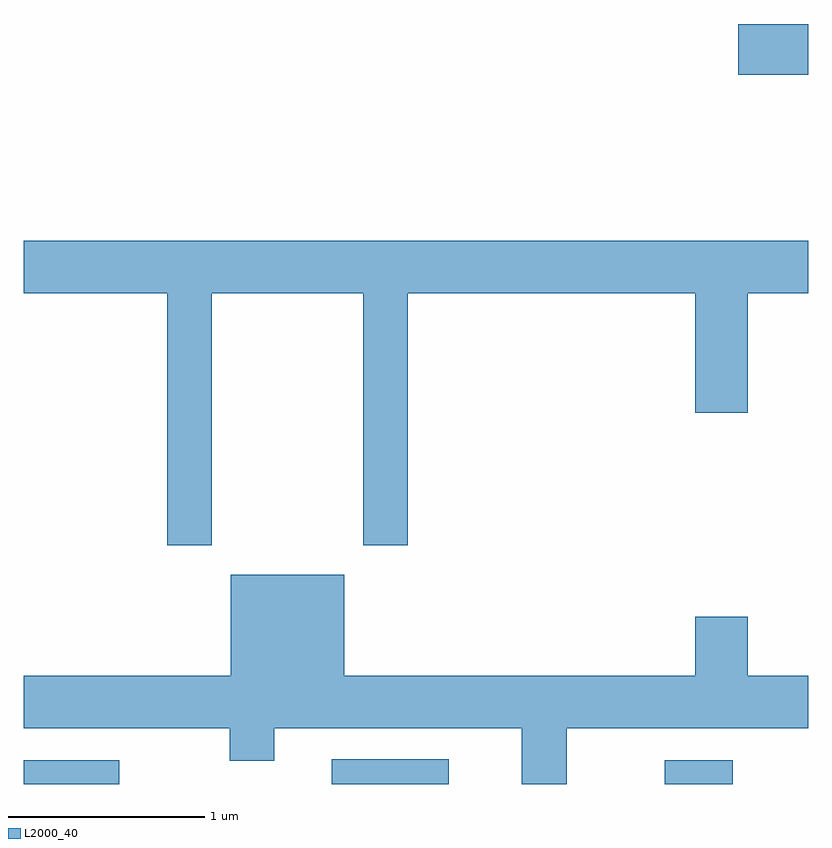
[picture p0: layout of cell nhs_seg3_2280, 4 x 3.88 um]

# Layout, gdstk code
import gdstk
lib = gdstk.Library(unit=1e-6, precision=1e-09)
def R(c, l, rs):  # rectangles x0, y0, x1, y1
    for r in rs: c.add(gdstk.rectangle(r[:2], r[2:], *l))
def P(c, l, *ps):  # polygons
    for p in ps: c.add(gdstk.Polygon(p, *l))
L2000_40 = (2000, 40)

nhs_seg3_2280 = lib.new_cell('nhs_seg3_2280')
R(nhs_seg3_2280, L2000_40, [(251.611,1187.892,252.098,1188.014), (253.181,1187.892,253.778,1188.019), (254.881,1187.892,255.228,1188.014), (255.256,1191.511,255.611,1191.769)])
P(nhs_seg3_2280, L2000_40, [(252.569,1190.396),(253.341,1190.396),(253.341,1189.111),(253.569,1189.111),(253.569,1190.396),(255.036,1190.396),(255.036,1189.786),(255.304,1189.786),(255.304,1190.396),(255.611,1190.396),(255.611,1190.664),(251.611,1190.664),(251.611,1190.396),(252.341,1190.396),(252.341,1189.111),(252.569,1189.111)],
  [(254.379,1188.176),(255.611,1188.176),(255.611,1188.444),(255.304,1188.444),(255.304,1188.744),(255.036,1188.744),(255.036,1188.444),(253.244,1188.444),(253.244,1188.959),(252.666,1188.959),(252.666,1188.444),(251.611,1188.444),(251.611,1188.176),(252.661,1188.176),(252.661,1188.011),(252.889,1188.011),(252.889,1188.176),(254.151,1188.176),(254.151,1187.892),(254.379,1187.892)])

lib.write_gds('nhs_seg3_2280.gds')
